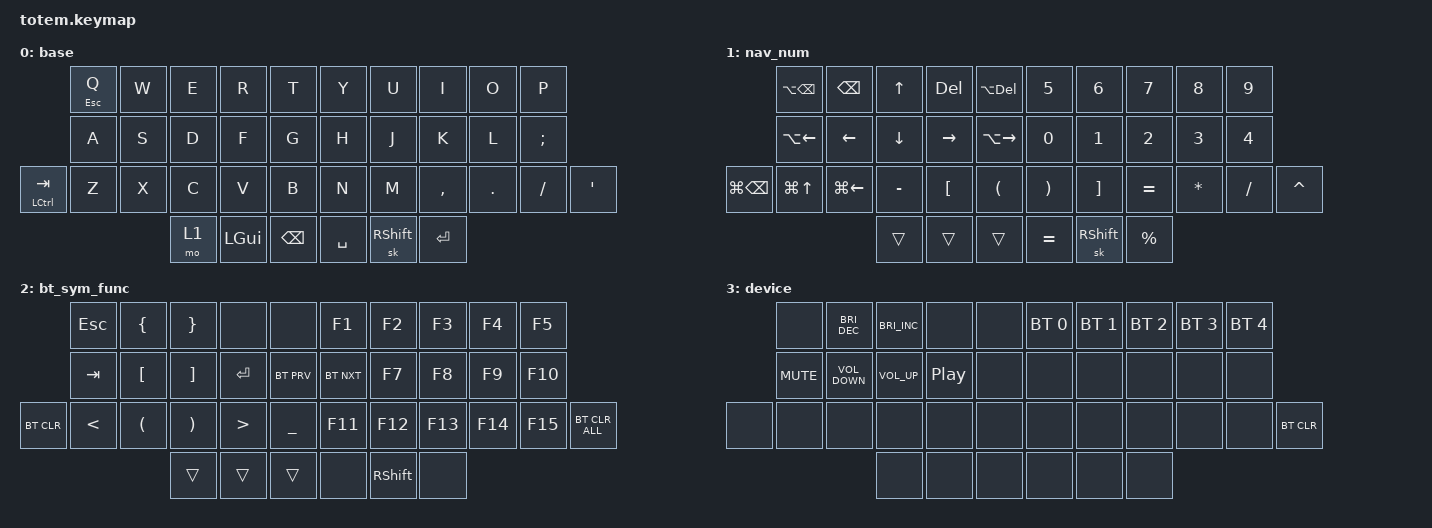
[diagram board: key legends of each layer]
//
//                                                        ▀▀▀▀▀     ▀▀▀▀▀          ▀▀█▀▀
//                                                        ▄▀▀▀▄  ▄  ▄▀▀▀▄  ▄  ▄▀▀▀▄  █  ▄▀▀▀▄
//                                                        █   █  █  █   █  █  █   █  █  █   █
//                                                         ▀▀▀   █   ▀▀▀   █   ▀▀▀   ▀   ▀▀▀
//                                                               █      ▄▄▄█▄▄▄    █   █  
//                                                               ▀      █  █  █     █▄█
//                                                             ▀▀▀▀▀    █  █  █      ▀
//                                                                      ▀  ▀  ▀
//
// ▄▄▄▄▄▄▄▄▄▄▄▄▄▄▄▄▄▄▄▄▄▄▄▄▄▄▄▄▄▄▄▄▄▄▄▄▄▄▄▄▄▄▄▄▄▄▄▄▄▄▄▄▄▄▄▄▄▄▄▄▄▄▄▄▄▄▄▄▄▄▄▄▄▄▄▄▄▄▄▄▄▄▄▄▄▄▄▄▄▄▄▄▄▄▄▄▄▄▄▄▄▄▄▄▄▄▄▄▄▄▄▄▄▄▄▄▄▄▄▄▄▄▄▄▄▄▄▄▄▄▄▄▄▄▄▄▄▄▄▄▄▄▄▄▄▄▄▄▄

#include <behaviors.dtsi>
#include <dt-bindings/zmk/bt.h>
#include <dt-bindings/zmk/keys.h>

/ {
    combos {
        compatible = "zmk,combos";

        bluetooth {
            bindings = <&tog 2>;
            key-positions = <32 34 33>;
            layers = <0 2>;
        };
    };

    keymap {
        compatible = "zmk,keymap";

        base {
            bindings = <
               &mt ESCAPE Q  &kp W  &kp E  &kp R         &kp T            &kp Y      &kp U            &kp I       &kp O    &kp P
               &kp A         &kp S  &kp D  &kp F         &kp G            &kp H      &kp J            &kp K       &kp L    &kp SEMI
&mt LCTRL TAB  &kp Z         &kp X  &kp C  &kp V         &kp B            &kp N      &kp M            &kp COMMA   &kp DOT  &kp FSLH  &kp APOS
                                    &mo 1  &kp LEFT_GUI  &kp BACKSPACE    &kp SPACE  &sk RIGHT_SHIFT  &kp RETURN
            >;
        };

        nav_num {
            bindings = <
                   &kp LA(BACKSPACE)   &kp BACKSPACE  &kp UP     &kp DELETE        &kp LA(DELETE)          &kp N5                 &kp N6             &kp N7       &kp N8    &kp N9
                   &kp LA(LEFT_ARROW)  &kp LEFT       &kp DOWN   &kp RIGHT         &kp LA(RIGHT)           &kp N0                 &kp N1             &kp N2       &kp N3    &kp N4
&kp LG(BACKSPACE)  &kp LG(UP_ARROW)    &kp LG(LEFT)   &kp MINUS  &kp LEFT_BRACKET  &kp LEFT_PARENTHESIS    &kp RIGHT_PARENTHESIS  &kp RIGHT_BRACKET  &kp EQUAL    &kp STAR  &kp FSLH  &kp CARET
                                                      &trans     &trans            &trans                  &kp EQUAL              &sk RIGHT_SHIFT    &kp PERCENT
            >;
        };

        bt_sym_func {
            bindings = <
            &kp ESC        &kp LEFT_BRACE        &kp RIGHT_BRACE        &none             &none             &kp F1      &kp F2           &kp F3   &kp F4   &kp F5
            &kp TAB        &kp LBKT              &kp RBKT               &kp ENTER         &bt BT_PRV        &bt BT_NXT  &kp F7           &kp F8   &kp F9   &kp F10
&bt BT_CLR  &kp LESS_THAN  &kp LEFT_PARENTHESIS  &kp RIGHT_PARENTHESIS  &kp GREATER_THAN  &kp UNDERSCORE    &kp F11     &kp F12          &kp F13  &kp F14  &kp F15  &bt BT_CLR_ALL
                                                 &trans                 &trans            &trans            &none       &kp RIGHT_SHIFT  &none
            >;
        };

        device {
            bindings = <
       &none       &kp C_BRIGHTNESS_DEC  &kp C_BRIGHTNESS_INC  &none             &none    &bt BT_SEL 0  &bt BT_SEL 1  &bt BT_SEL 2  &bt BT_SEL 3  &bt BT_SEL 4
       &kp K_MUTE  &kp C_VOLUME_DOWN     &kp C_VOLUME_UP       &kp C_PLAY_PAUSE  &none    &none         &none         &none         &none         &none
&none  &none       &none                 &none                 &none             &none    &none         &none         &none         &none         &none         &bt BT_CLR
                                         &none                 &none             &none    &none         &none         &none
            >;
        };

        extra1 { status = "reserved"; };

        extra2 { status = "reserved"; };

        extra3 { status = "reserved"; };
    };

    conditional_layers {
        compatible = "zmk,conditional-layers";

        device {
            if-layers = <1 2>;
            then-layer = <3>;
        };
    };
};
